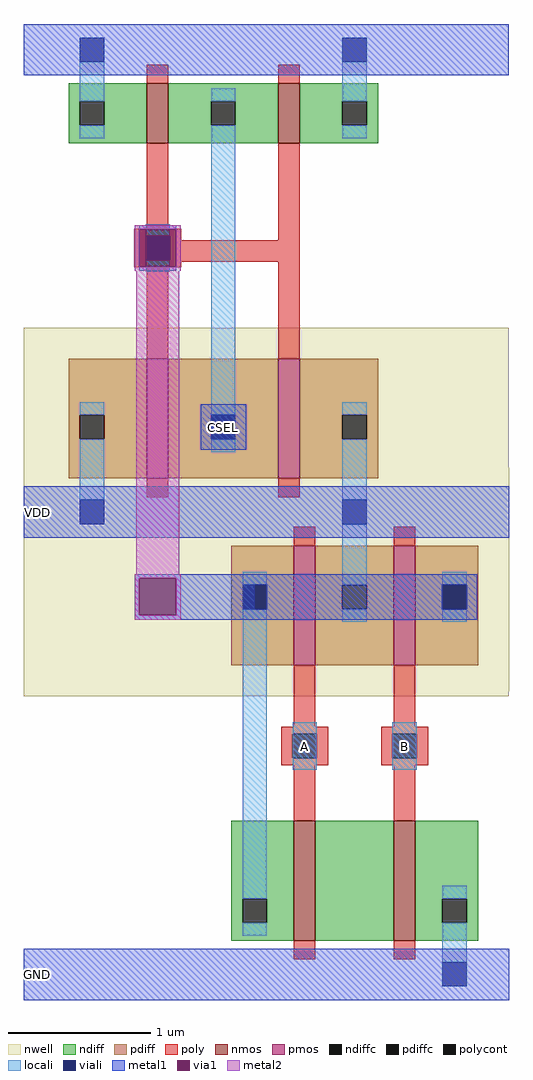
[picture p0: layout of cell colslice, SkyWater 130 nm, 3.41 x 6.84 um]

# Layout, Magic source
magic
tech sky130A
magscale 1 2
<< nwell >>
rect 0 390 680 906
<< locali >>
rect 377 303 411 337
rect 517 303 551 337
<< viali >>
rect 171 1001 205 1035
<< metal1 >>
rect 0 1260 680 1332
rect 162 1044 214 1050
rect 162 986 214 992
rect 263 750 297 784
rect 0 612 680 684
rect 156 555 324 561
rect 156 503 162 555
rect 214 503 324 555
rect 156 497 324 503
rect 0 -36 680 36
<< via1 >>
rect 162 1035 214 1044
rect 162 1001 171 1035
rect 171 1001 205 1035
rect 205 1001 214 1035
rect 162 992 214 1001
rect 162 503 214 555
<< metal2 >>
rect 156 1044 220 1050
rect 156 992 162 1044
rect 214 992 220 1044
rect 156 986 220 992
rect 158 561 218 986
rect 156 555 220 561
rect 156 503 162 555
rect 214 503 220 555
rect 156 497 220 503
use csdrv  d
transform 1 0 19 0 -1 1296
box 0 -36 522 710
use nand2  n
transform 1 0 247 0 1 0
box 0 -36 434 710
<< labels >>
rlabel locali 394 320 394 320 0 A
port 1 nsew
rlabel locali 534 320 534 320 0 B
port 2 nsew
rlabel metal1 280 767 280 767 0 CSEL
port 3 nsew
rlabel metal1 20 648 20 648 0 VDD
port 4 nsew
rlabel metal1 20 0 20 0 0 GND
port 5 nsew
<< end >>

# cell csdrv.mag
magic
tech sky130A
magscale 1 2
<< nwell >>
rect 0 397 522 710
<< nmos >>
rect 154 47 184 131
rect 338 47 368 131
<< pmos >>
rect 154 433 184 601
rect 338 433 368 601
<< ndiff >>
rect 44 106 154 131
rect 44 72 60 106
rect 94 72 154 106
rect 44 47 154 72
rect 184 106 338 131
rect 184 72 244 106
rect 278 72 338 106
rect 184 47 338 72
rect 368 106 478 131
rect 368 72 428 106
rect 462 72 478 106
rect 368 47 478 72
<< pdiff >>
rect 44 546 154 601
rect 44 512 60 546
rect 94 512 154 546
rect 44 433 154 512
rect 184 546 338 601
rect 184 512 244 546
rect 278 512 338 546
rect 184 433 338 512
rect 368 546 478 601
rect 368 512 428 546
rect 462 512 478 546
rect 368 433 478 512
<< ndiffc >>
rect 60 72 94 106
rect 244 72 278 106
rect 428 72 462 106
<< pdiffc >>
rect 60 512 94 546
rect 244 512 278 546
rect 428 512 462 546
<< poly >>
rect 154 601 184 627
rect 338 601 368 627
rect 154 305 184 433
rect 136 297 202 305
rect 338 297 368 433
rect 136 295 368 297
rect 136 261 152 295
rect 186 267 368 295
rect 186 261 202 267
rect 136 251 202 261
rect 154 131 184 251
rect 338 131 368 267
rect 154 21 184 47
rect 338 21 368 47
<< polycont >>
rect 152 261 186 295
<< locali >>
rect 60 546 94 631
rect 60 494 94 512
rect 244 546 278 564
rect 152 295 186 311
rect 152 245 186 261
rect 60 106 94 124
rect 60 17 94 72
rect 244 106 278 512
rect 428 546 462 631
rect 428 494 462 512
rect 244 54 278 72
rect 428 106 462 124
rect 428 17 462 72
<< viali >>
rect 60 631 94 665
rect 428 631 462 665
rect 244 512 278 546
rect 60 -17 94 17
rect 428 -17 462 17
<< metal1 >>
rect 0 665 522 684
rect 0 631 60 665
rect 94 631 428 665
rect 462 631 522 665
rect 0 612 522 631
rect 229 546 293 561
rect 229 512 244 546
rect 278 512 293 546
rect 229 497 293 512
rect 0 17 522 36
rect 0 -17 60 17
rect 94 -17 428 17
rect 462 -17 522 17
rect 0 -36 522 -17
<< labels >>
rlabel polycont 169 278 169 278 0 A
port 1 nsew
rlabel viali 261 529 261 529 0 Y
port 2 nsew
rlabel metal1 20 648 20 648 0 VDD
port 3 nsew
rlabel metal1 20 0 20 0 0 GND
port 4 nsew
<< end >>

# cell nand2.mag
magic
tech sky130A
magscale 1 2
<< nwell >>
rect 0 397 434 710
<< nmos >>
rect 132 47 162 215
rect 272 47 302 215
<< pmos >>
rect 132 433 162 601
rect 272 433 302 601
<< ndiff >>
rect 44 106 132 215
rect 44 72 60 106
rect 94 72 132 106
rect 44 47 132 72
rect 162 47 272 215
rect 302 106 390 215
rect 302 72 340 106
rect 374 72 390 106
rect 302 47 390 72
<< pdiff >>
rect 44 546 132 601
rect 44 512 60 546
rect 94 512 132 546
rect 44 433 132 512
rect 162 546 272 601
rect 162 512 200 546
rect 234 512 272 546
rect 162 433 272 512
rect 302 546 390 601
rect 302 512 340 546
rect 374 512 390 546
rect 302 433 390 512
<< ndiffc >>
rect 60 72 94 106
rect 340 72 374 106
<< pdiffc >>
rect 60 512 94 546
rect 200 512 234 546
rect 340 512 374 546
<< poly >>
rect 132 601 162 627
rect 272 601 302 627
rect 132 347 162 433
rect 272 347 302 433
rect 114 337 180 347
rect 114 303 130 337
rect 164 303 180 337
rect 114 293 180 303
rect 254 337 320 347
rect 254 303 270 337
rect 304 303 320 337
rect 254 293 320 303
rect 132 215 162 293
rect 272 215 302 293
rect 132 21 162 47
rect 272 21 302 47
<< polycont >>
rect 130 303 164 337
rect 270 303 304 337
<< locali >>
rect 60 546 94 564
rect 60 106 94 512
rect 200 546 234 631
rect 200 494 234 512
rect 340 546 374 564
rect 340 494 374 512
rect 130 337 164 353
rect 130 287 164 303
rect 270 337 304 353
rect 270 287 304 303
rect 60 54 94 72
rect 340 106 374 124
rect 340 17 374 72
<< viali >>
rect 200 631 234 665
rect 60 512 94 546
rect 340 512 374 546
rect 340 -17 374 17
<< metal1 >>
rect 0 665 434 684
rect 0 631 200 665
rect 234 631 434 665
rect 0 612 434 631
rect 45 546 389 561
rect 45 512 60 546
rect 94 512 340 546
rect 374 512 389 546
rect 45 497 389 512
rect 0 17 434 36
rect 0 -17 340 17
rect 374 -17 434 17
rect 0 -36 434 -17
<< labels >>
rlabel polycont 147 320 147 320 0 A
port 1 nsew
rlabel polycont 287 320 287 320 0 B
port 2 nsew
rlabel viali 77 529 77 529 0 Y
port 3 nsew
rlabel metal1 20 648 20 648 0 VDD
port 4 nsew
rlabel metal1 20 0 20 0 0 GND
port 5 nsew
<< end >>
